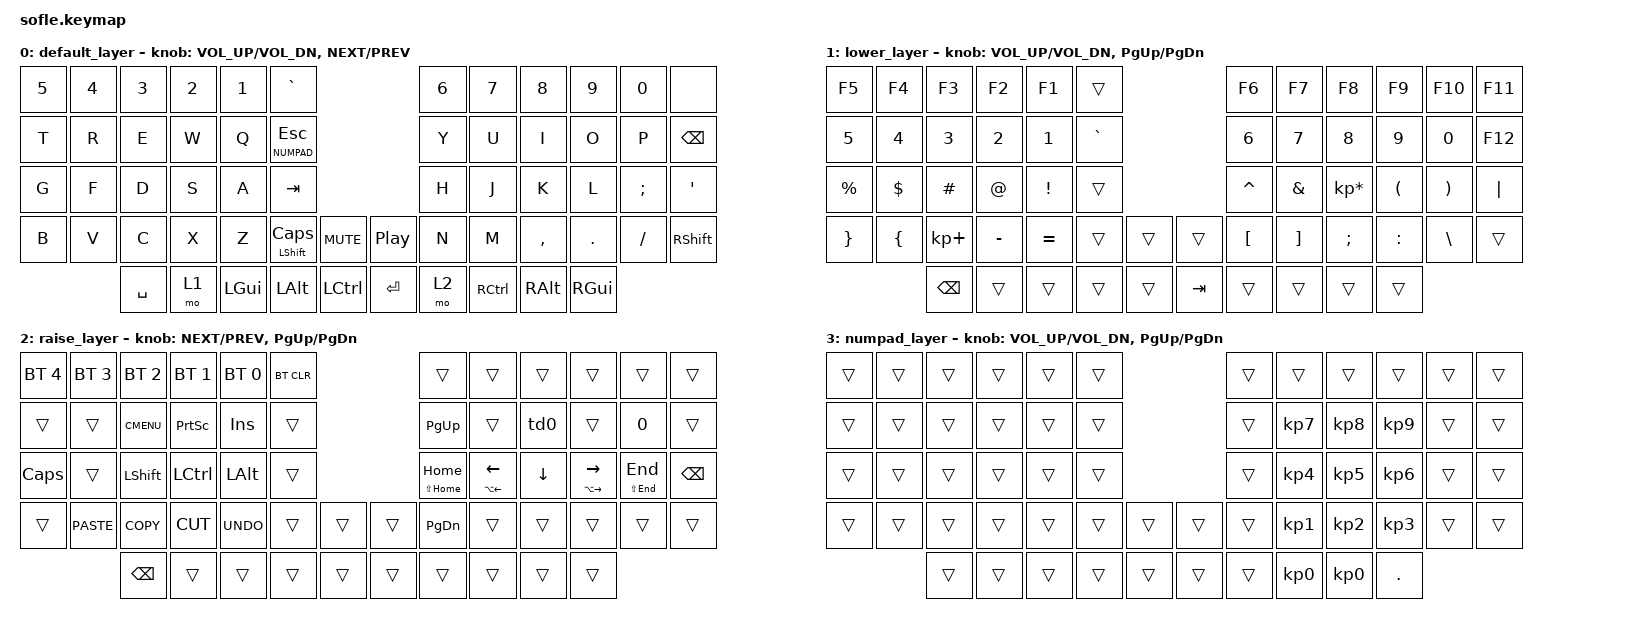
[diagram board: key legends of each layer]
/*
 * Copyright (c) 2020 The ZMK Contributors
 *
 * SPDX-License-Identifier: MIT
 */

#include <behaviors.dtsi>
#include <dt-bindings/zmk/keys.h>
#include <dt-bindings/zmk/bt.h>
#include <dt-bindings/zmk/ext_power.h>
/* #include <dt-bindings/zmk/rgb.h> */

#define DEFAULT 0
#define LOWER   1
#define RAISE   2
#define NUMPAD  3

/ {
    // Tap-dance definitions
    behaviors {
        td0: tap_dance_0 {
            compatible = "zmk,behavior-tap-dance";
            label = "TAP_DANCE_0";
            #binding-cells = <0>;
            tapping-term-ms = <200>;
            bindings = <&kp UP>, <&kp LA(UP)>, <&kp PG_UP>;
        };

//        td1: tap_dance_1 {
//            compatible = "zmk,behavior-tap-dance";
//            label = "TAP_DANCE_1";
//            #binding-cells = <0>;
//            tapping-term-ms = <200>;
//            bindings = <&kp LEFT>, <&kp LS(LEFT)>, <&kp LS(HOME)>;
//        };

//        td2: tap_dance_2 {
//            compatible = "zmk,behavior-tap-dance";
//            label = "TAP_DANCE_2";
//            #binding-cells = <0>;
//            tapping-term-ms = <200>;
//            bindings = <&kp RIGHT>, <&kp LS(RIGHT)>, <&kp LS(END)>;
//        };
    };

    keymap {
        compatible = "zmk,keymap";

        default_layer {
// ------------------------------------------------------------------------------------------------------------
// |  `    |  1  |  2  |  3   |  4   |  5   |                   |  6   |  7    |  8    |  9   |   0   |  RGBT |
// |  ESC  |  Q  |  W  |  E   |  R   |  T   |                   |  Y   |  U    |  I    |  O   |   P   | BKSPC |
// |  TAB  |  A  |  S  |  D   |  F   |  G   |                   |  H   |  J    |  K    |  L   |   ;   |   '   |
// | SHIFT |  Z  |  X  |  C   |  V   |  B   |  MUTE  |  | PLAY  |  N   |  M    |  ,    |  .   |   /   | SHIFT |
//               | CTRL| ALT  | GUI  | LOWER|  SPACE |  | ENTER | RAISE| CTRL  | ALT   | GUI  |
            bindings = <
&kp N5  &kp N4  &kp N3     &kp N2  &kp N1    &kp GRAVE                             &kp N6  &kp N7     &kp N8     &kp N9   &kp N0    &none
&kp T   &kp R   &kp E      &kp W   &kp Q     &lt NUMPAD ESC                        &kp Y   &kp U      &kp I      &kp O    &kp P     &kp BSPC
&kp G   &kp F   &kp D      &kp S   &kp A     &kp TAB                               &kp H   &kp J      &kp K      &kp L    &kp SEMI  &kp SQT
&kp B   &kp V   &kp C      &kp X   &kp Z     &mt LSHFT CLCK  &kp C_MUTE  &kp C_PP  &kp N   &kp M      &kp COMMA  &kp DOT  &kp FSLH  &kp RSHFT
                &kp SPACE  &mo 1   &kp LGUI  &kp LALT        &kp LCTRL   &kp RET   &mo 2   &kp RCTRL  &kp RALT   &kp RGUI
            >;

            sensor-bindings = <&inc_dec_kp C_VOL_UP C_VOL_DN &inc_dec_kp C_NEXT C_PREV>;
        };

        lower_layer {
// TODO: Some binds are waiting for shifted keycode support.
// ------------------------------------------------------------------------------------------------------------
// |       |  F1 |  F2 |  F3  |  F4  |  F5  |                   |  F6  |  F7   |  F8   |  F9  |  F10  |  F11  |
// | `     |   1 |   2 |   3  |   4  |   5  |                   |   6  |   7   |   8   |   9  |    0  |  F12  |
// |       |  !  |  @  |  #   |  $   |  %   |                   |  ^   |  &    |  *    |  (   |   )   |   |   |
// |       |  =  |  -  |  +   |  {   |  }   |        |  |       |  [   |  ]    |  ;    |  :   |   \   |       |
//               |     |      |      |      |   BKSP |  | TAB   |      |       |       |      |
            bindings = <
&kp F5     &kp F4    &kp F3       &kp F2       &kp F1     &trans                      &kp F6     &kp F7    &kp F8           &kp F9     &kp F10   &kp F11
&kp N5     &kp N4    &kp N3       &kp N2       &kp N1     &kp GRAVE                   &kp N6     &kp N7    &kp N8           &kp N9     &kp N0    &kp F12
&kp PRCNT  &kp DLLR  &kp HASH     &kp AT       &kp EXCL   &trans                      &kp CARET  &kp AMPS  &kp KP_MULTIPLY  &kp LPAR   &kp RPAR  &kp PIPE
&kp RBRC   &kp LBRC  &kp KP_PLUS  &kp MINUS    &kp EQUAL  &trans     &trans  &trans   &kp LBKT   &kp RBKT  &kp SEMI         &kp COLON  &kp BSLH  &trans
                     &kp BSPC     &trans       &trans     &trans     &trans  &kp TAB  &trans     &trans    &trans           &trans
            >;

            sensor-bindings = <&inc_dec_kp C_VOL_UP C_VOL_DN &inc_dec_kp PG_UP PG_DN>;
        };

        raise_layer {
// ------------------------------------------------------------------------------------------------------------
// |BTCLR| BT1  | BT2  |  BT3  |  BT4  |  BT5 |                |      |      |       |      |       |       |
// |     | INS  | PSCR | GUI   |       |      |                | PGUP |      |   ^   |      |       |       |
// |     | ALT  | CTRL | SHIFT |       | CAPS |                | HOME |   <- |   v   |  ->  |  END  | BKSPC |
// | CAPS| UNDO | CUT  | COPY  | PASTE |      |      |  |      | PGUP |      |       |      |       |       |
//              |      |       |       |      | BKSP |  |      |      |      |       |      |
            bindings = <
&bt BT_SEL 4  &bt BT_SEL 3  &bt BT_SEL 2  &bt BT_SEL 1  &bt BT_SEL 0  &bt BT_CLR                  &trans             &trans             &trans    &trans               &trans           &trans
&trans        &trans        &kp K_CMENU   &kp PSCRN     &kp INS       &trans                      &kp PG_UP          &trans             &td0      &trans               &kp N0           &trans
&kp CLCK      &trans        &kp LSHFT     &kp LCTRL     &kp LALT      &trans                      &mt LS(HOME) HOME  &mt LA(LEFT) LEFT  &kp DOWN  &mt LA(RIGHT) RIGHT  &mt LS(END) END  &kp BSPC
&trans        &kp K_PASTE   &kp K_COPY    &kp K_CUT     &kp K_UNDO    &trans      &trans  &trans  &kp PG_DN          &trans             &trans    &trans               &trans           &trans
                            &kp BSPC      &trans        &trans        &trans      &trans  &trans  &trans             &trans             &trans    &trans
            >;

            sensor-bindings = <&inc_dec_kp C_NEXT C_PREV &inc_dec_kp PG_UP PG_DN>;
        };

        numpad_layer {
// ------------------------------------------------------------------------------------------------------------
// |     |      |      |       |       |      |                |      |       |       |       |       |       |
// |     |      |      |       |       |      |                |      |   7   |   8   |   9   |       |       |
// |     |      |      |       |       |      |                |      |   4   |   5   |   6   |       |       |
// |     |      |      |       |       |      |      |  |      |      |   1   |   2   |   3   |       |       |
//              |      |       |       |      |      |  |      |      |   0   |   0   |   .   |
            bindings = <
&trans  &trans  &trans  &trans  &trans  &trans                  &trans  &trans     &trans     &trans     &trans   &trans
&trans  &trans  &trans  &trans  &trans  &trans                  &trans  &kp KP_N7  &kp KP_N8  &kp KP_N9  &trans   &trans
&trans  &trans  &trans  &trans  &trans  &trans                  &trans  &kp KP_N4  &kp KP_N5  &kp KP_N6  &trans   &trans
&trans  &trans  &trans  &trans  &trans  &trans  &trans  &trans  &trans  &kp KP_N1  &kp KP_N2  &kp KP_N3  &trans   &trans
                &trans  &trans  &trans  &trans  &trans  &trans  &trans  &kp KP_N0  &kp KP_N0  &kp DOT
            >;

            sensor-bindings = <&inc_dec_kp C_VOL_UP C_VOL_DN &inc_dec_kp PG_UP PG_DN>;
        };
    };
};
